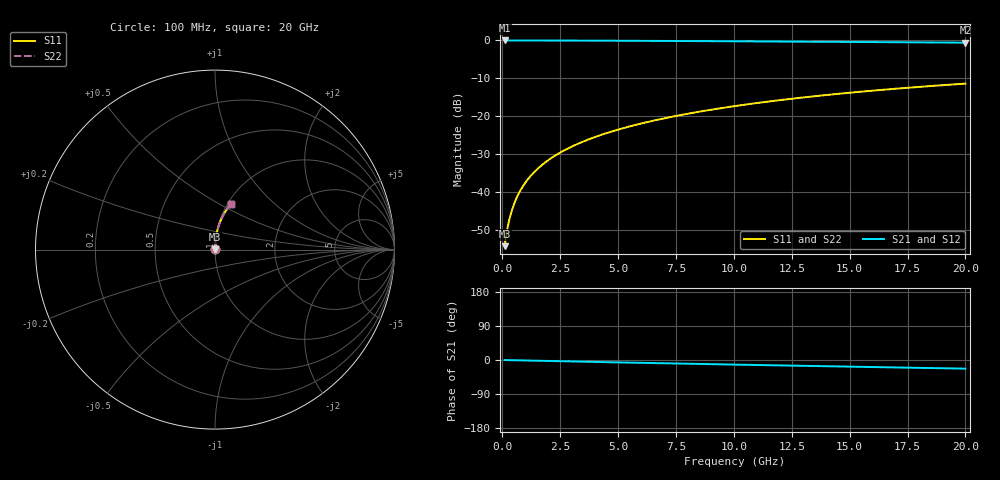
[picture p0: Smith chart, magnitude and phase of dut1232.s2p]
! Touchstone file exported from HFSS 2024.1.0
!  File:  C:/UserFiles/LocalFiles/RDL_TSV_Batchsim/temp_RDL_top_1232_1780240673.aedt
!  Generated:  11:20:20 PM May 31, 2026
!  Design:  RDL_top
!  Project:  temp_RDL_top_1232_1780240673
!  Setup:  Setup1
!  Solution:  Sweep
! Variables:
!  dtsv = 10.80580581um
!  hbump = 3um
!  htsv = 87.86um
!  ldown = 100um
!  lrdl = 269.25um
!  p = 40
!  p1 = 53.64um
!  rhole = 1um
!  t = 450um
!  tdown = 3.915915916um
!  trdl = 4.71um
!  wdown = 15.38538539um
!  wrdl = 16.51um
# GHz S MA R 50.000000
! Terminal data exported
! Port[1] = Box2_T1
! Port[2] = Box2_T2
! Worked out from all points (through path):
!   200 points, 100 MHz to 20 GHz, reference 50 ohm
!   highest |S21| = -0.01 dB at 100 MHz (marker M1); lowest = -0.6 dB at 20 GHz (marker M2)
!   group delay of S21, straight-line fit = 3.15 ps
!   lowest |S11| = -54.3 dB at 100 MHz (marker M3), VSWR 1.00, Z = 50.1 + j0.139 ohm
!   |S11| at or under -10 dB: start of sweep to end of sweep
!   |S22| runs from -54.3 to -11.4 dB; largest |S21 - S12| = 8.7e-15
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0.1  0.001938 45.6  0.9986 -0.1  0.9986 -0.1  0.001938 45.6
! Gamma 0 0 0 0
! Port Impedance 50 0 50 0
0.2  0.003075 62.8  0.9986 -0.3  0.9986 -0.3  0.003075 62.8
0.3  0.004312 70.3  0.9985 -0.4  0.9985 -0.4  0.004312 70.3
0.4  0.005578 74.5  0.9985 -0.5  0.9985 -0.5  0.005578 74.5
0.5  0.006861 77.2  0.9984 -0.7  0.9984 -0.7  0.006861 77.2
0.6  0.008154 79.1  0.9983 -0.8  0.9983 -0.8  0.008154 79.1
0.8  0.01076 81.4  0.9982 -1.0  0.9982 -1.0  0.01076 81.4
1.1  0.01469 83.3  0.998 -1.4  0.998 -1.4  0.01469 83.3
1.5  0.01997 84.6  0.9976 -1.9  0.9976 -1.9  0.01997 84.6
1.8  0.02393 85.1  0.9972 -2.3  0.9972 -2.3  0.02393 85.1
2.1  0.0279 85.4  0.9968 -2.7  0.9968 -2.7  0.0279 85.4
2.7  0.03586 85.6  0.9958 -3.5  0.9958 -3.5  0.03586 85.6
3.5  0.04651 85.6  0.9941 -4.5  0.9941 -4.5  0.04651 85.6
4.2  0.05589 85.4  0.9924 -5.3  0.9924 -5.3  0.05589 85.4
5  0.06668 85.1  0.9903 -6.3  0.9903 -6.3  0.06667 85.1
5.9  0.07891 84.6  0.9877 -7.4  0.9877 -7.4  0.07891 84.6
6.8  0.09125 84.0  0.9849 -8.5  0.9849 -8.5  0.09125 84.0
8.4  0.1134 82.7  0.9795 -10.3  0.9795 -10.3  0.1134 82.7
10.1  0.137 81.1  0.9736 -12.2  0.9736 -12.2  0.137 81.1
13.4  0.1826 77.7  0.9612 -15.9  0.9612 -15.9  0.1826 77.7
16.7  0.227 74.2  0.948 -19.4  0.948 -19.4  0.2269 74.2
20  0.2695 70.6  0.9339 -22.8  0.9339 -22.8  0.2695 70.6
